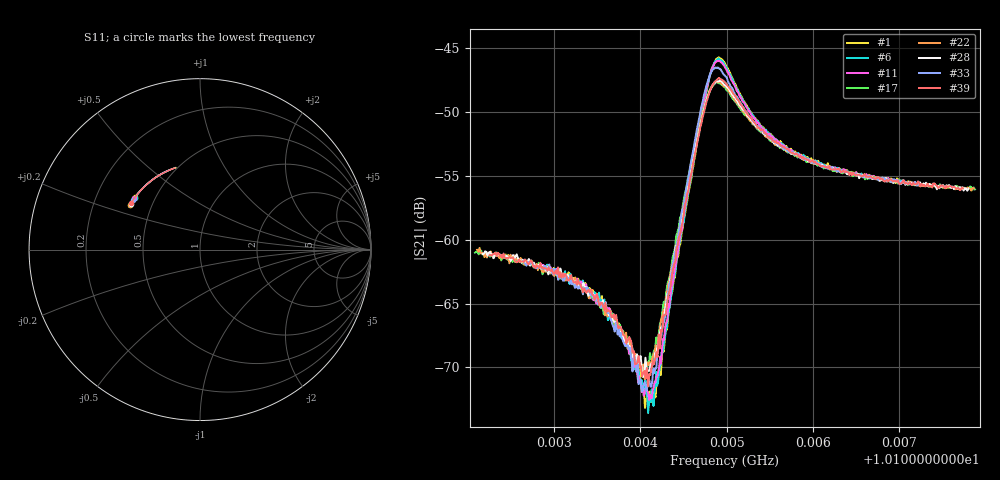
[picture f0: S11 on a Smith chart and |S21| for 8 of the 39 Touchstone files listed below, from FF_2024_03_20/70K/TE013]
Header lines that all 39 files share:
#  HZ  S  RI  R  50.00
! Rohde & Schwarz Vector Network Analyzer
! Rohde-Schwarz,ZNB20-2Port,1311601062101988,3.16
! freq[Hz]  re:S11  im:S11  re:S21  im:S21  re:S12  im:S12  re:S22  im:S22
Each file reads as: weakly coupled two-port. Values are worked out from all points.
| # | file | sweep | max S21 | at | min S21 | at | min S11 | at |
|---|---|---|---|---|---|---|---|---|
| 1 | 100_3_68.4995_70.0206757_24089.211_269.17090368270874_.s2p | 10.10292 GHz to 10.107 GHz | -45.75 dB | 10.10491 GHz | -73.2 dB | 10.10405 GHz | -6.2 dB | 10.10292 GHz |
| 2 | 100_3_68.5005_70.0470123_40451.039_268.76274156570435_.s2p | 10.10192 GHz to 10.10803 GHz | -48.05 dB | 10.10488 GHz | -70.9 dB | 10.10401 GHz | -6.3 dB | 10.10192 GHz |
| 3 | 101_3_68.4995_70.0255432_24299.842_271.5842180252075_.s2p | 10.10292 GHz to 10.10701 GHz | -45.83 dB | 10.10491 GHz | -73.1 dB | 10.1041 GHz | -6.2 dB | 10.10292 GHz |
| 4 | 101_3_68.5001_70.0474472_40201.289_271.20376324653625_.s2p | 10.1019 GHz to 10.10805 GHz | -47.94 dB | 10.10488 GHz | -70.3 dB | 10.10407 GHz | -6.3 dB | 10.1019 GHz |
| 5 | 102_3_68.5_70.0505905_39951.879_273.6537525653839_.s2p | 10.10197 GHz to 10.10797 GHz | -47.96 dB | 10.10487 GHz | -70.3 dB | 10.10397 GHz | -6.3 dB | 10.10197 GHz |
| 6 | 102_3_68.4995_70.0211029_24560.281_274.0191185474396_.s2p | 10.10289 GHz to 10.10703 GHz | -45.84 dB | 10.10491 GHz | -73.6 dB | 10.10409 GHz | -6.2 dB | 10.10292 GHz |
| 7 | 103_3_68.4991_70.0204544_24830.348_276.43877053260803_.s2p | 10.10289 GHz to 10.10703 GHz | -45.89 dB | 10.10492 GHz | -73.5 dB | 10.10413 GHz | -6.2 dB | 10.10289 GHz |
| 8 | 103_3_68.4996_70.0497208_39701.73_276.0784294605255_.s2p | 10.10196 GHz to 10.10799 GHz | -47.95 dB | 10.1049 GHz | -70.0 dB | 10.10405 GHz | -6.3 dB | 10.10196 GHz |
| 9 | 104_3_68.4999_70.0235901_25070.393_278.87271451950073_.s2p | 10.10285 GHz to 10.10706 GHz | -45.94 dB | 10.10492 GHz | -72.8 dB | 10.1041 GHz | -6.2 dB | 10.10286 GHz |
| 10 | 104_3_68.5002_70.0489655_39471.941_278.4968445301056_.s2p | 10.10195 GHz to 10.108 GHz | -47.88 dB | 10.10489 GHz | -70.5 dB | 10.10401 GHz | -6.3 dB | 10.10198 GHz |
| 11 | 105_3_68.5_70.0218658_25310.957_281.4462022781372_.s2p | 10.10284 GHz to 10.10708 GHz | -46.04 dB | 10.10491 GHz | -72.6 dB | 10.1041 GHz | -6.2 dB | 10.10285 GHz |
| 12 | 105_3_68.4989_70.0454941_39242.594_280.90180015563965_.s2p | 10.10202 GHz to 10.10793 GHz | -47.88 dB | 10.10487 GHz | -70.4 dB | 10.10401 GHz | -6.3 dB | 10.10206 GHz |
| 13 | 106_3_68.4994_70.0440826_38992.961_283.331458568573_.s2p | 10.10198 GHz to 10.10797 GHz | -47.87 dB | 10.1049 GHz | -70.2 dB | 10.10401 GHz | -6.3 dB | 10.102 GHz |
| 14 | 106_3_68.5001_70.0265198_25551.094_283.8818395137787_.s2p | 10.10279 GHz to 10.10712 GHz | -46.03 dB | 10.10489 GHz | -73.0 dB | 10.10409 GHz | -6.2 dB | 10.10279 GHz |
| 15 | 107_3_68.5_70.0225143_25791.301_286.30578804016113_.s2p | 10.1028 GHz to 10.10712 GHz | -46.09 dB | 10.10489 GHz | -72.7 dB | 10.10412 GHz | -6.2 dB | 10.1028 GHz |
| 16 | 107_3_68.4998_70.0460358_38144.098_291.6554288864136_.s2p | 10.10203 GHz to 10.10793 GHz | -47.74 dB | 10.10489 GHz | -70.4 dB | 10.10404 GHz | -6.3 dB | 10.10204 GHz |
| 17 | 108_3_68.5_70.0454941_37934.488_294.06501746177673_.s2p | 10.10208 GHz to 10.10788 GHz | -47.71 dB | 10.10488 GHz | -70.6 dB | 10.10405 GHz | -6.3 dB | 10.10208 GHz |
| 18 | 108_3_68.5004_70.0281448_26041.328_288.7409279346466_.s2p | 10.10278 GHz to 10.10713 GHz | -46.12 dB | 10.1049 GHz | -72.7 dB | 10.10411 GHz | -6.2 dB | 10.10279 GHz |
| 19 | 109_3_68.5002_70.0265198_26291.066_291.1509313583374_.s2p | 10.1028 GHz to 10.1071 GHz | -46.16 dB | 10.10489 GHz | -73.1 dB | 10.10412 GHz | -6.2 dB | 10.10281 GHz |
| 20 | 110_3_68.4995_70.045929_37434.938_298.85796427726746_.s2p | 10.1021 GHz to 10.10788 GHz | -47.71 dB | 10.10487 GHz | -70.6 dB | 10.10408 GHz | -6.3 dB | 10.1021 GHz |
| 21 | 110_3_68.5001_70.024353_27152.418_299.4363796710968_.s2p | 10.10277 GHz to 10.10713 GHz | -46.29 dB | 10.1049 GHz | -72.6 dB | 10.10409 GHz | -6.2 dB | 10.10277 GHz |
| 22 | 111_3_68.5_70.0447388_37214.926_301.28087878227234_.s2p | 10.10211 GHz to 10.10787 GHz | -47.67 dB | 10.10492 GHz | -70.9 dB | 10.10405 GHz | -6.3 dB | 10.10214 GHz |
| 23 | 111_3_68.5005_70.0315018_27352.439_301.8739814758301_.s2p | 10.1027 GHz to 10.10721 GHz | -46.33 dB | 10.1049 GHz | -72.8 dB | 10.10412 GHz | -6.2 dB | 10.1027 GHz |
| 24 | 112_3_68.5001_70.0472336_36955.102_303.69151306152344_.s2p | 10.10216 GHz to 10.10782 GHz | -47.58 dB | 10.10493 GHz | -70.7 dB | 10.10402 GHz | -6.3 dB | 10.10216 GHz |
| 25 | 112_3_68.5002_70.0268402_27592.764_304.30685091018677_.s2p | 10.1027 GHz to 10.10719 GHz | -46.37 dB | 10.10489 GHz | -72.3 dB | 10.10406 GHz | -6.2 dB | 10.1027 GHz |
| 26 | 113_3_68.4999_70.0262985_27842.748_306.7196834087372_.s2p | 10.10269 GHz to 10.10721 GHz | -46.39 dB | 10.10488 GHz | -72.3 dB | 10.10411 GHz | -6.2 dB | 10.10274 GHz |
| 27 | 113_3_68.5004_70.0463638_36705.434_306.12783098220825_.s2p | 10.1022 GHz to 10.10777 GHz | -47.59 dB | 10.10487 GHz | -70.7 dB | 10.10405 GHz | -6.3 dB | 10.1022 GHz |
| 28 | 114_3_68.5_70.0472794_36466.512_308.5355052947998_.s2p | 10.10217 GHz to 10.10781 GHz | -47.58 dB | 10.10492 GHz | -70.8 dB | 10.10403 GHz | -6.3 dB | 10.10217 GHz |
| 29 | 114_3_68.5003_70.0305328_28083.117_309.152795791626_.s2p | 10.10268 GHz to 10.10721 GHz | -46.43 dB | 10.10489 GHz | -72.5 dB | 10.10406 GHz | -6.2 dB | 10.10268 GHz |
| 30 | 115_3_68.4994_70.0315018_28323.5_311.5657320022583_.s2p | 10.10266 GHz to 10.10723 GHz | -46.49 dB | 10.10488 GHz | -72.5 dB | 10.10408 GHz | -6.2 dB | 10.10266 GHz |
| 31 | 115_3_68.5005_70.047821_36246.172_310.9472186565399_.s2p | 10.10218 GHz to 10.1078 GHz | -47.54 dB | 10.10492 GHz | -70.9 dB | 10.10409 GHz | -6.3 dB | 10.10218 GHz |
| 32 | 116_3_68.4998_70.0479355_35966.465_313.61715626716614_.s2p | 10.1022 GHz to 10.10779 GHz | -47.51 dB | 10.10491 GHz | -71.0 dB | 10.10406 GHz | -6.3 dB | 10.1022 GHz |
| 33 | 116_3_68.4999_70.0278168_28583.627_314.0086135864258_.s2p | 10.10264 GHz to 10.10724 GHz | -46.55 dB | 10.10488 GHz | -71.9 dB | 10.10402 GHz | -6.2 dB | 10.10264 GHz |
| 34 | 117_3_68.5001_70.0505371_35707.168_316.0364987850189_.s2p | 10.10222 GHz to 10.10776 GHz | -47.47 dB | 10.10491 GHz | -70.6 dB | 10.10404 GHz | -6.3 dB | 10.10225 GHz |
| 35 | 117_3_68.5004_70.0261917_28814.553_316.4530689716339_.s2p | 10.10259 GHz to 10.1073 GHz | -46.54 dB | 10.10488 GHz | -71.7 dB | 10.10413 GHz | -6.2 dB | 10.1026 GHz |
| 36 | 118_3_68.4997_70.0251083_29054.264_318.88715267181396_.s2p | 10.10263 GHz to 10.10726 GHz | -46.58 dB | 10.10487 GHz | -72.2 dB | 10.10404 GHz | -6.2 dB | 10.10265 GHz |
| 37 | 118_3_68.5004_70.0560608_35477.5_318.4801871776581_.s2p | 10.10221 GHz to 10.10779 GHz | -47.44 dB | 10.10494 GHz | -70.7 dB | 10.10401 GHz | -6.3 dB | 10.10222 GHz |
| 38 | 119_3_68.5_70.023056_29304.813_321.33120369911194_.s2p | 10.10259 GHz to 10.10729 GHz | -46.67 dB | 10.10487 GHz | -71.7 dB | 10.10406 GHz | -6.2 dB | 10.10259 GHz |
| 39 | 119_3_68.4995_70.052269_35237.797_320.9077117443085_.s2p | 10.10225 GHz to 10.10774 GHz | -47.37 dB | 10.10491 GHz | -71.5 dB | 10.10409 GHz | -6.3 dB | 10.10225 GHz |
